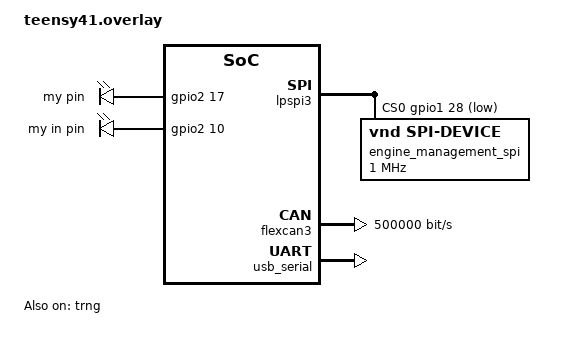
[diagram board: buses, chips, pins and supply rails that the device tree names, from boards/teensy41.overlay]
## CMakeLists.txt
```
cmake_minimum_required(VERSION 3.20.0)
find_package(Zephyr REQUIRED HINTS $ENV{ZEPHYR_BASE})
project(solo_blink)

# Shared TrackCAN library (also used by the other Nodes). The root CMakeLists passes
# TRACKCAN_PATH; fall back to the parent directory for standalone builds.
if(NOT DEFINED TRACKCAN_PATH)
	set(TRACKCAN_PATH ${CMAKE_CURRENT_LIST_DIR}/..)
endif()

# The SD card logger. -DDATALOGGER_SD=OFF builds the firmware without it (and the Kconfig for it is switched off by the
# script), to tell a problem in the logger from a problem in the rest of the firmware.
option(DATALOGGER_SD "Build the SD card logger" ON)

# The TrackCAN node logic. -DDATALOGGER_CAN=OFF builds the original bring-up scaffold without it (with CONFIG_CAN=n), a control for
# telling a problem in the CAN driver from a problem elsewhere.
option(DATALOGGER_CAN "Build the TrackCAN CAN logic" ON)
# Bench only: the CAN controller runs in internal loopback, so a lone Node produces steady traffic. The log says so (a NOTE line).
option(DATALOGGER_CAN_LOOPBACK "CAN controller in loopback (bench)" OFF)

target_sources(app PRIVATE
	src/main.c
	src/bootloader/bootloader_control.c
	src/bootloader/bootloader_request.c
	src/logger/logger_segments.c
)
if(DATALOGGER_CAN)
	target_sources(app PRIVATE
		${TRACKCAN_PATH}/can/datalogger.c
		${TRACKCAN_PATH}/can/common/trackcan_core.c
		${TRACKCAN_PATH}/can/generated/trackcan.c
	)
else()
	message(STATUS "DataLogger: built WITHOUT the CAN logic")
endif()
target_include_directories(app PRIVATE
	src/logger
	src/transfer
	src/bootloader
	${TRACKCAN_PATH}/can
	${TRACKCAN_PATH}/can/common
	${TRACKCAN_PATH}/can/generated
)

if(DATALOGGER_CAN_LOOPBACK)
	target_compile_definitions(app PRIVATE DATALOGGER_CAN_LOOPBACK=1)
endif()
# Bench only: a rising-rate frame generator into the SD logger queue, to find where frames start to drop.
option(DATALOGGER_SD_BENCH_CUTTEST "SD logger: console timestamp every 100 ms (bench, measures what a power cut loses)" OFF)
if(DATALOGGER_SD_BENCH_CUTTEST)
	target_compile_definitions(app PRIVATE DATALOGGER_SD_BENCH_CUTTEST=1)
endif()
option(DATALOGGER_SD_BENCH_FLOOD "SD logger flood generator (bench)" OFF)
if(DATALOGGER_SD_BENCH_FLOOD)
	target_compile_definitions(app PRIVATE DATALOGGER_SD_BENCH_FLOOD=1)
endif()

# New log file every N seconds or N KB, whichever comes first (0 = no limit). The defaults are the real values; the bench builds shorten them.
set(DATALOGGER_SD_ROTATE_SECONDS 600 CACHE STRING "Seconds before a new log file (0 = no limit)")
set(DATALOGGER_SD_ROTATE_KB 30720 CACHE STRING "KB before a new log file (0 = no limit)")
set(DATALOGGER_SD_BENCH_FLOOD_STEP_MS 20000 CACHE STRING "Bench only: how long each flood rate step lasts (ms)")
set(DATALOGGER_SD_TEST_FAIL_ROLL 0 CACHE STRING "Bench only: the N-th rollover fails to open its file (0 = never)")
# Daily and high-res logging (TCAN-20): each family's ring space, the high-res time limit, and the daily rotation. START_MANUAL is a bench setting.
set(DATALOGGER_SD_DAILY_QUOTA_MB 4096 CACHE STRING "Space the daily files may use before the oldest is deleted (MB)")
set(DATALOGGER_SD_MANUAL_QUOTA_MB 8192 CACHE STRING "Space the high-res files may use before the oldest is deleted (MB)")
set(DATALOGGER_SD_MANUAL_MAX_SECONDS 600 CACHE STRING "High-res logging stops by itself after this long (0 = never)")
set(DATALOGGER_SD_DAILY_ROTATE_SECONDS 3600 CACHE STRING "Seconds before a new daily file")
set(DATALOGGER_SD_START_MANUAL 0 CACHE STRING "Bench only: start in high-res mode (1)")
target_compile_definitions(app PRIVATE
	DATALOGGER_SD_ROTATE_SECONDS=${DATALOGGER_SD_ROTATE_SECONDS}
	DATALOGGER_SD_ROTATE_KB=${DATALOGGER_SD_ROTATE_KB}
	DATALOGGER_SD_TEST_FAIL_ROLL=${DATALOGGER_SD_TEST_FAIL_ROLL}
	DATALOGGER_SD_BENCH_FLOOD_STEP_MS=${DATALOGGER_SD_BENCH_FLOOD_STEP_MS}
	DATALOGGER_SD_DAILY_QUOTA_MB=${DATALOGGER_SD_DAILY_QUOTA_MB}
	DATALOGGER_SD_MANUAL_QUOTA_MB=${DATALOGGER_SD_MANUAL_QUOTA_MB}
	DATALOGGER_SD_MANUAL_MAX_SECONDS=${DATALOGGER_SD_MANUAL_MAX_SECONDS}
	DATALOGGER_SD_DAILY_ROTATE_SECONDS=${DATALOGGER_SD_DAILY_ROTATE_SECONDS}
	DATALOGGER_SD_START_MANUAL=${DATALOGGER_SD_START_MANUAL})
# Bench only: a button played on the bus (needs the CAN loopback).
option(DATALOGGER_CAN_BENCH_BUTTON "Play a logging button on the bus (bench, needs loopback)" OFF)
if(DATALOGGER_CAN_BENCH_BUTTON)
	target_compile_definitions(app PRIVATE DATALOGGER_CAN_BENCH_BUTTON=1)
endif()

if(DATALOGGER_SD)
	target_sources(app PRIVATE
		src/logger/logger_core.c
		src/logger/sd_logger.c
		src/transfer/logger_xfer.c
		src/transfer/usb_transfer.c
	)
else()
	target_compile_definitions(app PRIVATE DATALOGGER_NO_SD=1)
	message(STATUS "DataLogger: built WITHOUT the SD logger")
endif()
```

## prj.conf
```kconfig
CONFIG_GPIO=y
CONFIG_ENTROPY_GENERATOR=y
CONFIG_ENTROPY_MCUX_TRNG=y

CONFIG_SPI=y

CONFIG_SERIAL=y
CONFIG_CONSOLE=y
CONFIG_UART_CONSOLE=y
CONFIG_STDOUT_CONSOLE=y

CONFIG_NEWLIB_LIBC=y
CONFIG_NEWLIB_LIBC_FLOAT_PRINTF=y

CONFIG_CAN=y
CONFIG_LOG=y

# SD card logger (the microSD socket on the Teensy 4.1: usdhc1, disk "SD", see sd_logger.c)
CONFIG_DISK_ACCESS=y
CONFIG_FILE_SYSTEM=y
CONFIG_FAT_FILESYSTEM_ELM=y
# NEVER format a card the logger did not make: a card with an unrecognised file system (exFAT, unformatted) must fail to mount,
# not be erased. (Zephyr's default creates a file system when the mount fails.)
CONFIG_FS_FATFS_MOUNT_MKFS=n
CONFIG_FS_FATFS_NUM_FILES=2
# TCAN-18: USB serial port; a 134 baud request reboots into the programming bootloader
CONFIG_USB_DEVICE_STACK_NEXT=y
CONFIG_CDC_ACM_SERIAL_INITIALIZE_AT_BOOT=y
CONFIG_CDC_ACM_SERIAL_PRODUCT_STRING="TrackCAN DataLogger"
CONFIG_UART_LINE_CTRL=y
# TCAN-18: the defaults overflowed (MPU fault 10 ms after USB init); Teensy has plenty of RAM
CONFIG_UDC_WORKQUEUE_STACK_SIZE=2048
CONFIG_USBD_THREAD_STACK_SIZE=2048
CONFIG_SYSTEM_WORKQUEUE_STACK_SIZE=2048
CONFIG_MAIN_STACK_SIZE=4096
CONFIG_ISR_STACK_SIZE=4096
```

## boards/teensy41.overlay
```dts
/{
		aliases{
				rand-gen = &trng;
				eng-spi = &engine_management_spi;
				out = &out;
				in = &in;
		};

		chosen {

        zephyr,console = &lpuart6;
        zephyr,canbus = &flexcan3;

    };

		user
		{
				compatible = "gpio-leds";
				out: out-pin{
						gpios = <&gpio2 17 GPIO_ACTIVE_HIGH>;
						label = "my pin";
				};

				in: in-pin{
						gpios = <&gpio2 10 GPIO_ACTIVE_HIGH>;
						label = "my in pin";
				};
		};
};

&lpspi3{
		status = "okay";

		cs-gpios = <&gpio1 28 GPIO_ACTIVE_LOW>;

		engine_management_spi: engine-management-spi@0{
				compatible = "vnd,spi-device";
				reg = <0>;
				spi-max-frequency = <1000000>;
				/* spi-cpol; */

				spi-interframe-delay-ns = <0>;
						/* description: | */
						/*   Delay in nanoseconds between SPI words. */
						/*   Default of 0 is special value which will assume to mean half of the SCK period. */

				spi-cs-setup-delay-ns = <100>;
						/* description: | */
						/*   Delay in nanoseconds to be introduced by the controller after CS is asserted. */
						/*   Also known as enable lead time. */

				spi-cs-hold-delay-ns = <100>;
						/* description: | */
						/*  Delay in nanoseconds to be introduced by the controller before the CS is de-asserted. */
						/*   Also known as enable lag time. */

		};

};

&pinmux_lpspi3{
		status = "okay";
};

&gpio1{
		status = "okay";
};

&gpio2{
		status = "okay";
};

&trng{
		status = "okay";
};

/* Ethernet */
&enet {
		status = "disabled";
};

&enet_mac {
		status = "disabled";
};

&enet_mdio {
		status = "disabled";
};

/* TrackCAN backbone: FlexCAN3 on Teensy pins 31 (TX) / 30 (RX), as in
 * assets/DataLogger_schematic.drawio.svg. Needs an external transceiver, the Teensy 4.1
 * has none. FlexCAN3 is the CAN FD capable controller, but it stays in classic CAN mode
 * (the driver only enables FD when CAN_MODE_FD is requested, which TrackCAN never does).
 * 500 kbit/s classic CAN. */
&flexcan3 {
		status = "okay";
		bitrate = <500000>;

		can-transceiver {
				max-bitrate = <1000000>;
		};
};

/* The board enables FlexCAN1 (pins 22/23) by default. TrackCAN does not use it, so free
 * those pins. */
&flexcan1 {
		status = "disabled";
};

&zephyr_udc0 {
	usb_serial: usb_serial {
		compatible = "zephyr,cdc-acm-uart";
	};
};
```

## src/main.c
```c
#include "bootloader_control.h"
#ifndef DATALOGGER_NO_SD
#include "transfer/usb_transfer.h"
#endif
#include <stdio.h>
#include <zephyr/kernel.h>
#include <zephyr/device.h>
#include <zephyr/drivers/entropy.h>
#include <zephyr/drivers/spi.h>
#include <zephyr/drivers/gpio.h>
#include <zephyr/drivers/gpio/gpio_utils.h>

#ifndef DATALOGGER_NO_SD
#include "logger/sd_logger.h"
#endif

/* GPIO */
// #define IN_PIN DT_ALIAS(in)
const struct gpio_dt_spec gp_pin = GPIO_DT_SPEC_GET(DT_PATH(user, out_pin), gpios);
const struct gpio_dt_spec in_pin = GPIO_DT_SPEC_GET(DT_PATH(user, in_pin), gpios);

/* RANDOM GENERATOR */
#define RAND_GEN DT_ALIAS(rand_gen)
const struct device *random_gen = DEVICE_DT_GET(RAND_GEN);

/* ENGINE MANAGEMENT ADC*/
#define ENG_SPI DT_ALIAS(eng_spi)
const struct spi_dt_spec eng_spi = SPI_DT_SPEC_GET(ENG_SPI, SPI_WORD_SET(8) | SPI_OP_MODE_MASTER | SPI_TRANSFER_MSB, 0);
// const struct spi_dt_spec *engine_management_adc = SPI_DT_SPEC_GET(ENG_SPI);
//  const struct device *random_gen = DEVICE_DT_GET(DT_CHOSEN(zephyr_entropy));

int main(void)
{
	if (bootloader_control_start() < 0) {
		printf("USB bootloader request unavailable\n");
	}
#ifndef DATALOGGER_NO_SD
	sd_logger_start(); /* the SD card logger runs in its own thread */
	if (usb_transfer_start() < 0)
	{
		printf("USB log copy unavailable\n");
	}
#endif

	struct spi_buf_set rx_channels[8] = {
		{ .buffers =
			  (struct spi_buf[]){
				  { .buf = (void *)(char[]){ 0b00000000, 0b00000000, 0b00000000 }, .len = 3 },
			  },
		  .count = 1 },
		{ .buffers =
			  (struct spi_buf[]){
				  { .buf = (void *)(char[]){ 0b00000000, 0b00000000, 0b00000000 }, .len = 3 },
			  },
		  .count = 1 },

		{ .buffers =
			  (struct spi_buf[]){
				  { .buf = (void *)(char[]){ 0b00000000, 0b00000000, 0b00000000 }, .len = 3 },
			  },
		  .count = 1 },

		{ .buffers =
			  (struct spi_buf[]){
				  { .buf = (void *)(char[]){ 0b00000000, 0b00000000, 0b00000000 }, .len = 3 },
			  },
		  .count = 1 },

		{ .buffers =
			  (struct spi_buf[]){
				  { .buf = (void *)(char[]){ 0b00000000, 0b00000000, 0b00000000 }, .len = 3 },
			  },
		  .count = 1 },
		{ .buffers =
			  (struct spi_buf[]){
				  { .buf = (void *)(char[]){ 0b00000000, 0b00000000, 0b00000000 }, .len = 3 },
			  },
		  .count = 1 },

		{ .buffers =
			  (struct spi_buf[]){
				  { .buf = (void *)(char[]){ 0b00000000, 0b00000000, 0b00000000 }, .len = 3 },
			  },
		  .count = 1 },

		{ .buffers =
			  (struct spi_buf[]){
				  { .buf = (void *)(char[]){ 0b00000000, 0b00000000, 0b00000000 }, .len = 3 },
			  },
		  .count = 1 },
	};

	struct spi_buf_set tx_channels[8] = {
		{ .buffers =
			  (struct spi_buf[]){
				  { .buf = (void *)(char[]){ 0b00000110, 0b00000000, 0b00000000 }, .len = 3 },
			  },
		  .count = 1 },
		{ .buffers =
			  (struct spi_buf[]){
				  { .buf = (void *)(char[]){ 0b00000110, 0b01000000, 0b00000000 }, .len = 3 },
			  },
		  .count = 1 },

		{ .buffers =
			  (struct spi_buf[]){
				  { .buf = (void *)(char[]){ 0b00000110, 0b10000000, 0b00000000 }, .len = 3 },
			  },
		  .count = 1 },

		{ .buffers =
			  (struct spi_buf[]){
				  { .buf = (void *)(char[]){ 0b00000110, 0b11000000, 0b00000000 }, .len = 3 },
			  },
		  .count = 1 },

		{ .buffers =
			  (struct spi_buf[]){
				  { .buf = (void *)(char[]){ 0b00000111, 0b00000000, 0b00000000 }, .len = 3 },
			  },
		  .count = 1 },
		{ .buffers =
			  (struct spi_buf[]){
				  { .buf = (void *)(char[]){ 0b00000111, 0b01000000, 0b00000000 }, .len = 3 },
			  },
		  .count = 1 },

		{ .buffers =
			  (struct spi_buf[]){
				  { .buf = (void *)(char[]){ 0b00000111, 0b10000000, 0b00000000 }, .len = 3 },
			  },
		  .count = 1 },

		{ .buffers =
			  (struct spi_buf[]){
				  { .buf = (void *)(char[]){ 0b00000111, 0b11000000, 0b00000000 }, .len = 3 },
			  },
		  .count = 1 },
	};

	if (!gpio_is_ready_dt(&gp_pin))
	{
		printf("GPIO GP BAD");
	}
	else
	{
		printf("GPIO ENG GP GOOOD\n");
	}

	if (!gpio_is_ready_dt(&in_pin))
	{
		printf("GPIO IN BAD");
	}
	else
	{
		printf("GPIO ENG GP GOOOD\n");
	}

	if (!spi_is_ready_dt(&eng_spi))
	{
		printf("GPIO ENG SPI BAD");
	}
	else
	{
		printf("GPIO ENG SPI GOOOD\n");
	}

	printf("GPIO READY\n");

	gpio_pin_configure_dt(&gp_pin, GPIO_OUTPUT_ACTIVE);
	gpio_pin_configure_dt(&gp_pin, GPIO_INPUT);

	while (1)
	{
		uint32_t x = 100;
		int ret = entropy_get_entropy(random_gen, (uint8_t *)&x, sizeof(x));
		// int ret = entropy_get_entropy(random_gen, (uint8_t *)&x, sizeof(x));

		printf("true random number: %u\n", (uint32_t)x);
		printf("PIN READ: %u\n", (uint32_t)gpio_pin_get_raw(in_pin.port, in_pin.pin));
		printf("PIN OUT: %u\n", (uint32_t)gpio_pin_get_dt(&gp_pin));

		for (int i = 0; i < 3; ++i)
		{
			spi_transceive_dt(&eng_spi, &tx_channels[i], &rx_channels[i]);
			char *res = (char *)rx_channels[i].buffers[0].buf;

			uint32_t channel_value = 0;
			channel_value |= ((res[1] & 0x0F) << 8) | res[2];
			printf("SPI_READ -- CH %d: %d\n", i, channel_value);
		}

		k_msleep(900);
	}

	return 0;
}
```
